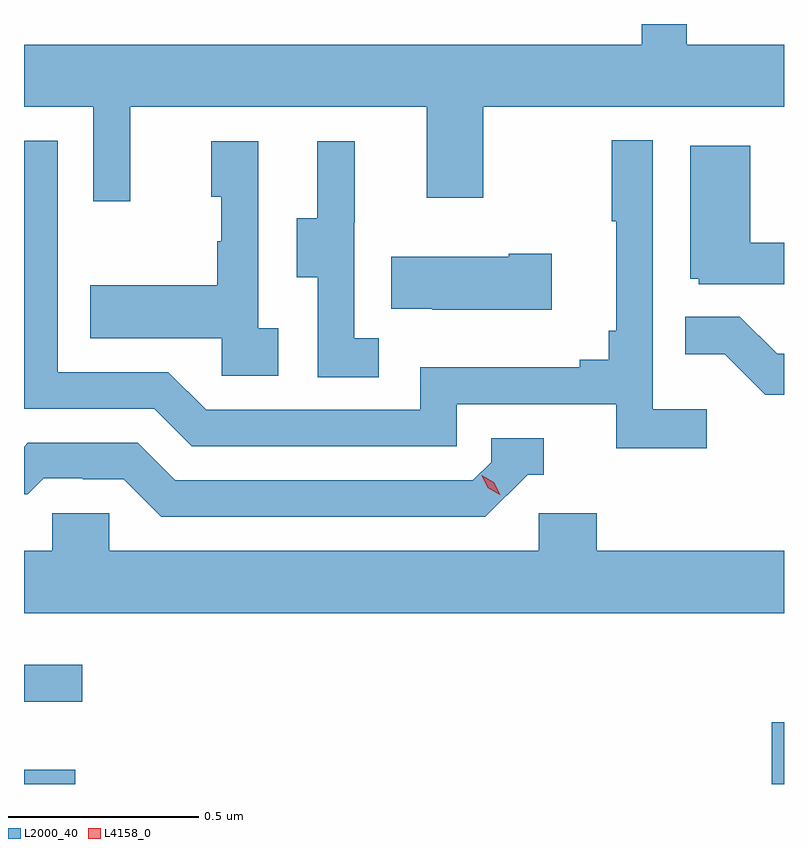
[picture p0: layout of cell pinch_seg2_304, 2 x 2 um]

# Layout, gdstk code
import gdstk
lib = gdstk.Library(unit=1e-6, precision=1e-09)
def R(c, l, rs):  # rectangles x0, y0, x1, y1
    for r in rs: c.add(gdstk.rectangle(r[:2], r[2:], *l))
def P(c, l, *ps):  # polygons
    for p in ps: c.add(gdstk.Polygon(p, *l))
L2000_40 = (2000, 40)
L4158_0 = (4158, 0)

pinch_seg2_304 = lib.new_cell('pinch_seg2_304')
R(pinch_seg2_304, L2000_40, [(899.077,644.522,899.212,644.56), (901.045,644.522,901.077,644.684), (899.077,644.739,899.23,644.836)])
P(pinch_seg2_304, L2000_40, [(899.357,646.304),(900.137,646.304),(900.137,646.065),(900.285,646.065),(900.285,646.304),(901.077,646.304),(901.077,646.468),(900.821,646.468),(900.821,646.522),(900.703,646.522),(900.703,646.468),(899.077,646.468),(899.077,646.304),(899.259,646.304),(899.259,646.056),(899.357,646.056)],
  [(900.874,645.508),(900.732,645.508),(900.732,646.216),(900.624,646.216),(900.624,646.003),(900.635,646.003),(900.635,645.715),(900.616,645.715),(900.616,645.638),(900.539,645.638),(900.539,645.619),(900.12,645.619),(900.12,645.507),(899.556,645.507),(899.457,645.606),(899.166,645.606),(899.166,646.215),(899.077,646.215),(899.077,645.51),(899.42,645.51),(899.519,645.411),(900.216,645.411),(900.216,645.522),(900.635,645.522),(900.635,645.406),(900.874,645.406)],
  [(899.746,645.722),(899.694,645.722),(899.694,646.213),(899.57,646.213),(899.57,646.068),(899.596,646.068),(899.596,645.95),(899.586,645.95),(899.586,645.835),(899.251,645.835),(899.251,645.695),(899.598,645.695),(899.598,645.597),(899.746,645.597)],
  [(900.01,645.695),(899.946,645.695),(899.946,645.999),(899.948,645.999),(899.948,646.213),(899.849,646.213),(899.849,646.011),(899.795,646.011),(899.795,645.856),(899.85,645.856),(899.85,645.592),(900.01,645.592)],
  [(901.077,645.946),(900.988,645.946),(900.988,646.201),(900.83,646.201),(900.83,645.852),(900.852,645.852),(900.852,645.837),(901.077,645.837)],
  [(900.466,645.918),(900.353,645.918),(900.353,645.91),(900.043,645.91),(900.043,645.773),(900.151,645.773),(900.151,645.77),(900.466,645.77)],
  [(901.077,645.654),(901.059,645.654),(900.961,645.752),(900.817,645.752),(900.817,645.653),(900.921,645.653),(901.028,645.546),(901.077,645.546)],
  [(900.402,645.336),(900.445,645.336),(900.445,645.432),(900.306,645.432),(900.306,645.369),(900.258,645.321),(899.475,645.321),(899.376,645.42),(899.087,645.42),(899.077,645.41),(899.077,645.285),(899.087,645.285),(899.129,645.327),(899.232,645.327),(899.232,645.324),(899.339,645.324),(899.438,645.225),(900.291,645.225)],
  [(901.077,645.136),(900.584,645.136),(900.584,645.234),(900.432,645.234),(900.432,645.136),(899.301,645.136),(899.301,645.234),(899.151,645.234),(899.151,645.136),(899.077,645.136),(899.077,644.972),(901.077,644.972)])
P(pinch_seg2_304, L4158_0, [(900.329,645.283),(900.298,645.302),(900.281,645.334),(900.281,645.335),(900.282,645.335),(900.313,645.316),(900.33,645.283),(900.33,645.283)])

lib.write_gds('pinch_seg2_304.gds')
